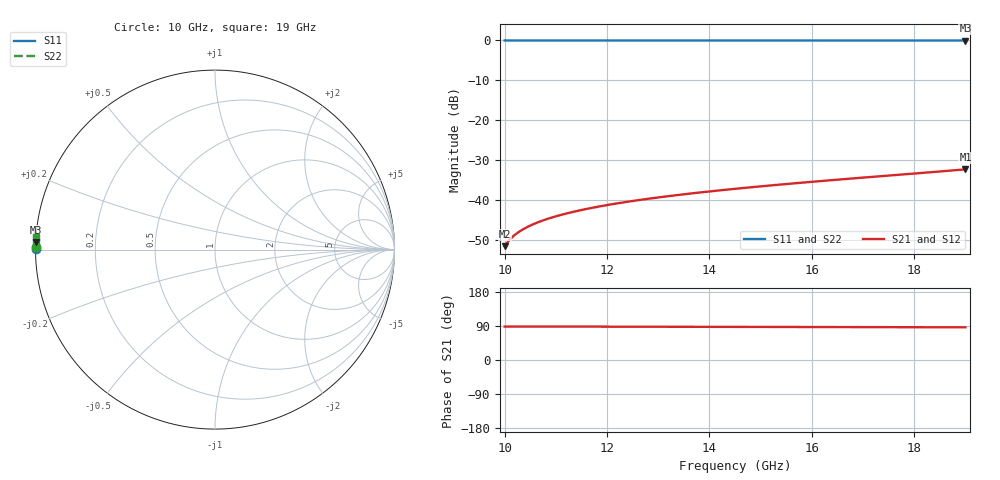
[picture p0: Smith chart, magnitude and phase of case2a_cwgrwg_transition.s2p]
! Variables:
!  $epsr = 5.5
!  $tandel = 0.003
!  a = 0.35in
!  d = 3.5in
!  f0_ideal = 15.3934197621267GHz
!  iris_radius = 0.0705in
!  iris_width = 0.04in
!  rwg_a = 0.622in
!  rwg_b = 0.311in
!  rwg_length = 0.3in
!Data is not renormalized
# GHz S RI
! Terminal data exported
! Port[1] = Port1Cyl
! Port[2] = Port2Rect
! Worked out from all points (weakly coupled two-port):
!   101 points, 10 GHz to 19 GHz, reference per port
!   highest |S21| = -32.26 dB at 19 GHz (marker M1); lowest = -51.5 dB at 10 GHz (marker M2)
!   lowest |S11| = 0.0 dB at 19 GHz (marker M3)
!   |S11| at or under -10 dB: nowhere
!   |S22| runs from 0.0 to 0.0 dB; largest |S21 - S12| = 0
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10  -0.9997 0.00336  9.02e-05 0.00266  9.02e-05 0.00266  -0.9994 0.0127
10.09  -0.9991 -0.000364  9.59e-05 0.00317  9.59e-05 0.00317  -0.9993 0.0137
10.18  -0.9992 0.00189  0.000105 0.00361  0.000105 0.00361  -0.9993 0.0148
10.27  -0.9994 0.00421  0.000115 0.00399  0.000115 0.00399  -0.9992 0.0157
10.36  -0.9994 0.00589  0.000125 0.00433  0.000125 0.00433  -0.9992 0.0167
10.45  -0.9994 0.00706  0.000135 0.00465  0.000135 0.00465  -0.9991 0.0176
10.54  -0.9994 0.0079  0.000144 0.00495  0.000144 0.00495  -0.9991 0.0184
10.72  -0.9994 0.00908  0.000164 0.0055  0.000164 0.0055  -0.999 0.02
10.81  -0.9994 0.00955  0.000174 0.00576  0.000174 0.00576  -0.999 0.0208
10.99  -0.9993 0.0104  0.000193 0.00626  0.000193 0.00626  -0.9989 0.0223
11.26  -0.9992 0.0117  0.000223 0.00696  0.000223 0.00696  -0.9988 0.0244
11.53  -0.9991 0.0129  0.000253 0.00762  0.000253 0.00762  -0.9987 0.0264
11.89  -0.999 0.0144  0.000295 0.00845  0.000295 0.00845  -0.9985 0.0289
12.25  -0.9989 0.0158  0.000337 0.00925  0.000337 0.00925  -0.9984 0.0313
12.61  -0.9988 0.0171  0.000381 0.01  0.000381 0.01  -0.9982 0.0337
13.06  -0.9987 0.0187  0.000438 0.011  0.000438 0.011  -0.9981 0.0365
13.69  -0.9986 0.0209  0.000522 0.0122  0.000522 0.0122  -0.9978 0.0403
14.5  -0.9984 0.0236  0.000639 0.0139  0.000639 0.0139  -0.9975 0.0451
15.22  -0.9982 0.026  0.000754 0.0154  0.000754 0.0154  -0.9972 0.0493
16.03  -0.9981 0.0287  0.000896 0.0171  0.000896 0.0171  -0.9968 0.054
17.56  -0.9977 0.0339  0.00122 0.0205  0.00122 0.0205  -0.9961 0.063
19  -0.9972 0.0396  0.00162 0.0243  0.00162 0.0243  -0.9952 0.0719
